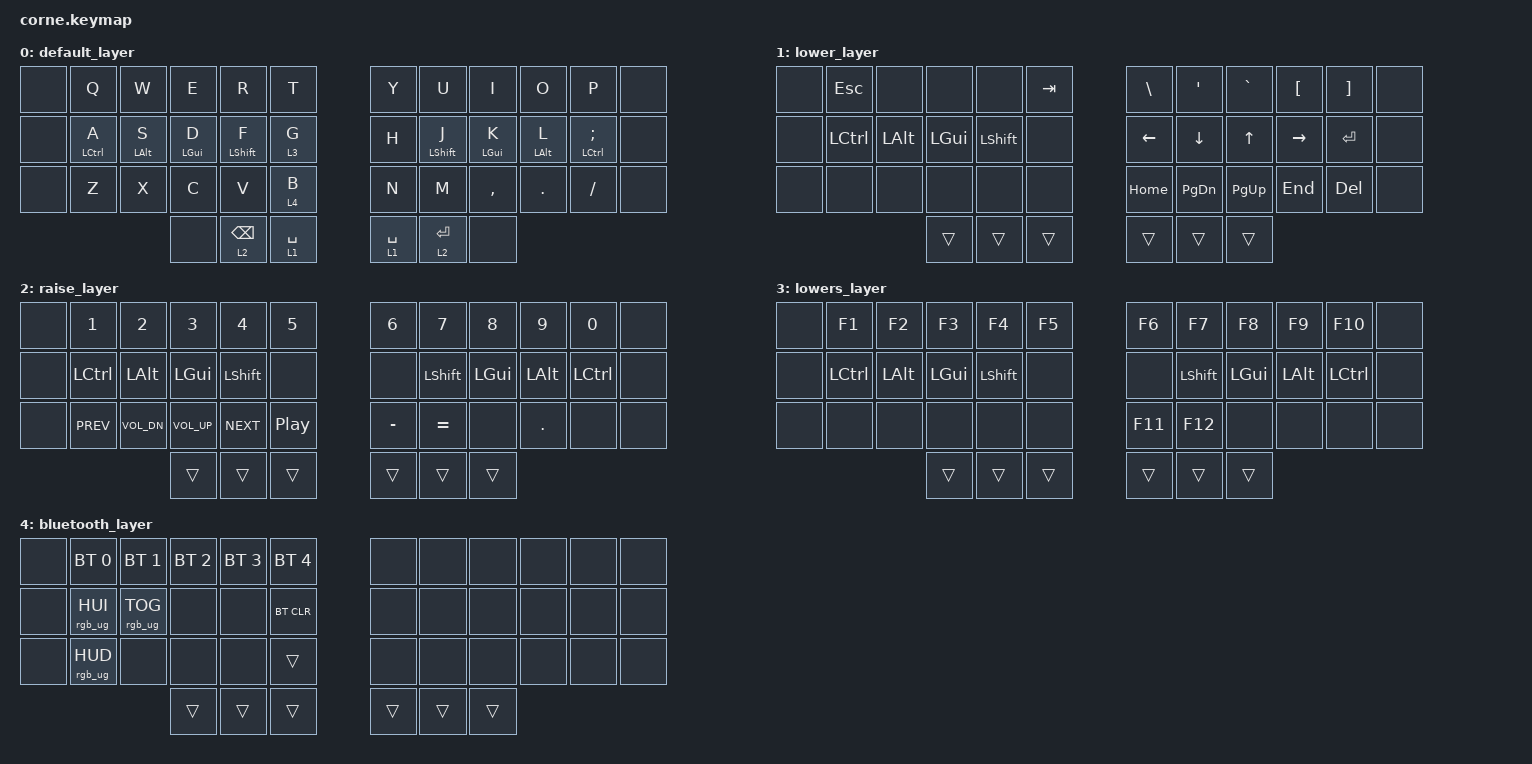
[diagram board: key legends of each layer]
/*
 * Copyright (c) 2020 The ZMK Contributors
 *
 * SPDX-License-Identifier: MIT
 */

#include <behaviors.dtsi>
#include <dt-bindings/zmk/keys.h>
#include <dt-bindings/zmk/bt.h>
#include <dt-bindings/zmk/ext_power.h>
#include <dt-bindings/zmk/rgb.h>

//#define QWERTY   0
//#define SPCNAV   1
//#define ENTNUM   2
//#define GFN      3

/ {
	behaviors {
        hm: homerow_mods {
			compatible = "zmk,behavior-hold-tap";
			label = "homerow mods";
			#binding-cells = <2>;
			tapping_term_ms = <200>;
            flavor = "tap-preferred";
			bindings = <&kp>, <&kp>;
        };
   	 };
};


/ {
    keymap {
        compatible = "zmk,keymap";

        default_layer {
            bindings = <
                &none   &kp Q       &kp W       &kp E       &kp R       &kp T                                   &kp Y       &kp U       &kp I       &kp O       &kp P           &none
                &none   &hm LCTRL A &hm LALT S  &hm LGUI D  &hm LSHFT F &lt 3 G                                 &kp H       &hm LSHFT J &hm LGUI K  &hm LALT L  &hm LCTRL SEMI  &none
                &none   &kp Z       &kp X       &kp C       &kp V       &lt 4 B                                 &kp N       &kp M       &kp COMMA   &kp DOT     &kp FSLH        &none
                                                            &none       &lt 2 BSPC  &lt 1 SPACE     &lt 1 SPACE &lt 2 RET   &none
            >;
        };

        lower_layer {
            bindings = <
                &none   &kp ESC     &none       &none       &none       &kp TAB                     &kp BSLH    &kp SQT     &kp GRAVE   &kp LBKT    &kp RBKT    &none
                &none   &kp LCTRL   &kp LALT    &kp LGUI    &kp LSHFT   &none                       &kp LEFT    &kp DOWN    &kp UP      &kp RIGHT   &kp RET     &none
                &none   &none       &none       &none       &none       &none                       &kp HOME    &kp PG_DN   &kp PG_UP   &kp END     &kp DEL     &none
                                                            &trans      &trans  &trans      &trans  &trans      &trans
            >;
        };

        raise_layer {
            bindings = <
                &none  &kp N1       &kp N2          &kp N3          &kp N4      &kp N5                          &kp N6      &kp N7      &kp N8      &kp N9      &kp N0      &none
                &none  &kp LCTRL    &kp LALT        &kp LGUI        &kp LSHFT   &none                           &none       &kp LSHFT   &kp LGUI    &kp LALT    &kp LCTRL   &none
                &none  &kp C_PREV   &kp C_VOL_DN    &kp C_VOL_UP    &kp C_NEXT  &kp C_PP                        &kp MINUS   &kp EQUAL   &none       &kp DOT     &none       &none
                                                                    &trans      &trans      &trans      &trans  &trans      &trans
            >;
        };

        lowers_layer {
            bindings = <
                &none  &kp F1       &kp F2      &kp F3      &kp F4      &kp F5                      &kp F6  &kp F7      &kp F8      &kp F9      &kp F10     &none
                &none  &kp LCTRL    &kp LALT    &kp LGUI    &kp LSHFT   &none                       &none   &kp LSHFT   &kp LGUI    &kp LALT    &kp LCTRL   &none
                &none  &none        &none       &none       &none       &none                       &kp F11 &kp F12     &none       &none       &none       &none
                                                            &trans      &trans  &trans      &trans  &trans  &trans
            >;
        };

        bluetooth_layer {
            bindings = <
                &none  &bt BT_SEL 0     &bt BT_SEL 1    &bt BT_SEL 2    &bt BT_SEL 3    &bt BT_SEL 4                        &none   &none   &none   &none   &none   &none
                &none  &rgb_ug RGB_HUI  &rgb_ug RGB_TOG &none           &none           &bt BT_CLR                          &none   &none   &none   &none   &none   &none
                &none  &rgb_ug RGB_HUD  &none           &none           &none           &trans                              &none   &none   &none   &none   &none   &none
                                                                        &trans          &trans          &trans      &trans  &trans  &trans
            >;
        };
    };
};
